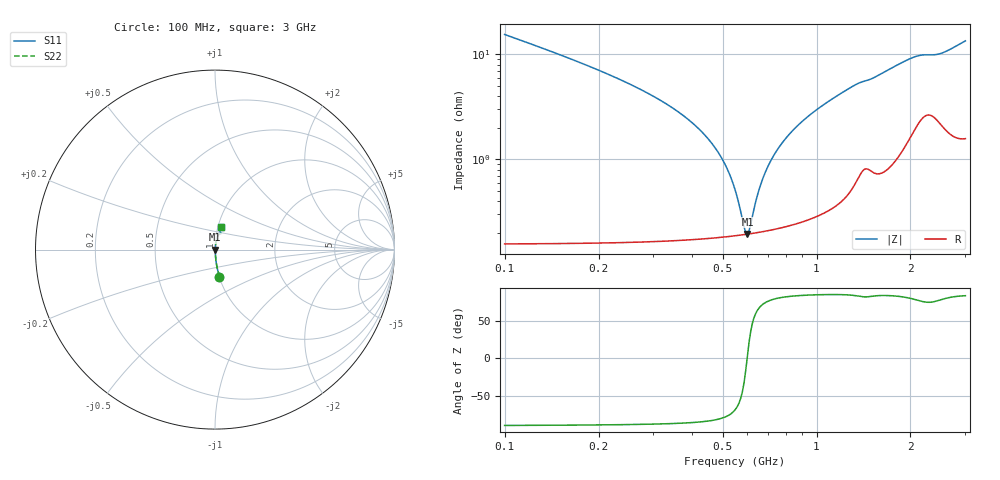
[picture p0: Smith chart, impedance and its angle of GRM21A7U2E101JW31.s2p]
!Murata Part Number: GRM21A7U2E101JW31
!These Parameters are Measured in Series Mode Connection
!Data Generated on Mar 30, 2021
!  o--ll--o
!Port1  Port2
!  o------o
!Operation Temp=25[degC], DC Bias Voltage=0[V]
!Freq. Start=100[MHz] Stop=3[GHz] 401[Steps]
# Hz S RI R 50
!Freq.(Hz) S11(Real) S11(Imag) S21(Real) S21(Imag) S12(Real) S12(Imag) S22(Real) S22(Imag)
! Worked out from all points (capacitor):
!   401 points, 100 MHz to 3 GHz, reference 50 ohm
!   read as one part in series: C = 99.9 pF near 114.5 MHz
!   lowest |Z| = 195 mohm at 600.2 MHz (marker M1)
!   series resonance near 599.1 MHz, so ESL is about 710 pH
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1e8  0.0249 -0.1507  0.9751 0.1507  0.9751 0.1507  0.0249 -0.1507
2.2325e8  0.00536 -0.0611  0.9946 0.0611  0.9946 0.0611  0.00536 -0.0611
3.8275e8  0.00231 -0.0246  0.9977 0.0246  0.9977 0.0246  0.00231 -0.0246
4.625e8  0.00197 -0.014  0.998 0.014  0.998 0.014  0.00197 -0.014
4.9875e8  0.00191 -0.00984  0.9981 0.00984  0.9981 0.00984  0.00191 -0.00984
5.2775e8  0.00189 -0.0068  0.9981 0.0068  0.9981 0.0068  0.00189 -0.0068
5.495e8  0.00189 -0.00463  0.9981 0.00463  0.9981 0.00463  0.00189 -0.00463
5.8575e8  0.00192 -0.00121  0.9981 0.00121  0.9981 0.00121  0.00192 -0.00121
6.0025e8  0.00194 0.000102  0.9981 -0.000102  0.9981 -0.000102  0.00194 0.000102
6.1475e8  0.00196 0.00138  0.998 -0.00138  0.998 -0.00138  0.00196 0.00138
6.4375e8  0.00202 0.00386  0.998 -0.00386  0.998 -0.00386  0.00202 0.00386
6.7275e8  0.00209 0.00625  0.9979 -0.00625  0.9979 -0.00625  0.00209 0.00625
7.09e8  0.00219 0.00912  0.9978 -0.00912  0.9978 -0.00912  0.00219 0.00912
7.525e8  0.00235 0.0124  0.9977 -0.0124  0.9977 -0.0124  0.00235 0.0124
8.105e8  0.00259 0.0166  0.9974 -0.0166  0.9974 -0.0166  0.00259 0.0166
8.83e8  0.00296 0.0216  0.997 -0.0216  0.997 -0.0216  0.00296 0.0216
1.0715e9  0.0043 0.034  0.9957 -0.034  0.9957 -0.034  0.0043 0.034
1.32525e9  0.00824 0.0499  0.9918 -0.0499  0.9918 -0.0499  0.00824 0.0499
1.55e9  0.0109 0.0599  0.9891 -0.0599  0.9891 -0.0599  0.0109 0.0599
2.03575e9  0.0255 0.0878  0.9745 -0.0878  0.9745 -0.0878  0.0255 0.0878
2.5215e9  0.0299 0.0958  0.9701 -0.0958  0.9701 -0.0958  0.0299 0.0958
3e9  0.0323 0.1273  0.9677 -0.1273  0.9677 -0.1273  0.0323 0.1273
